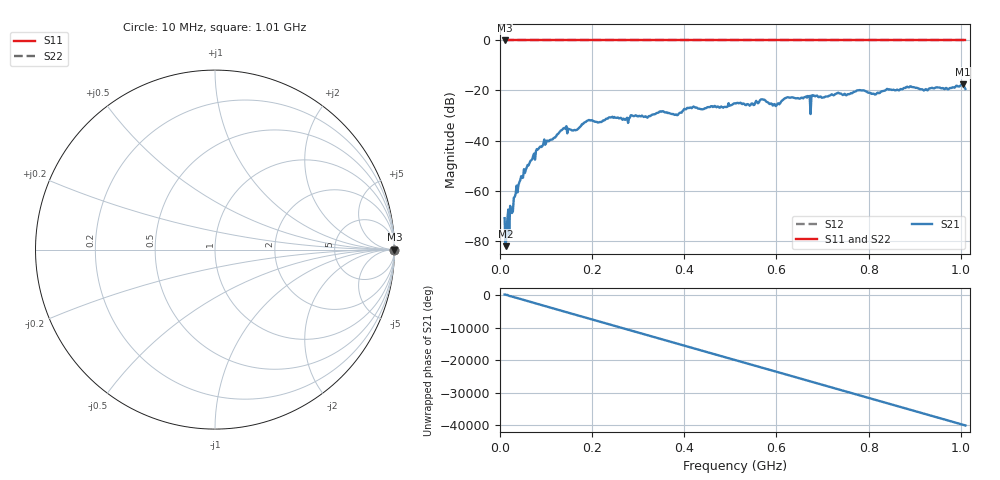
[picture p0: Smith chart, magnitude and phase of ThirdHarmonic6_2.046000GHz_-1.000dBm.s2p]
! 8/17/2025 12:32:10 AM
! C:\ANRITSUVNA\TEMP\TEMP.S2P
! CHANNEL.1
! TR.MEASUREMENT
! RAW.DATA
! RF.CORRECTION.OFF
! AVERAGING.OFF
! IF.BANDWIDTH: 5KHZ
! SWEEPTYPE:  FREQ.SWEEP(Linear)
! Reference Plane Port Info
! PORT:  PORT1  PORT2
! DISTANCE:  0  m  0  m
! TIME:  0  s  0  s
! PHASE.OFFSET:  0  deg.  0  deg.
! LOSS:  0  dB  0  dB
! REF.LOSS:  0  dB  0  dB
! REF.FREQ:  0  Hz  0  Hz
! Power Info
! POWER:  -20  dBm  -20  dBm
! EFF.POWER:  -20  dBm  -20  dBm
! SOURCE.ATTEN:  0  dB  0  dB
! TEST.ATTEN:  0  dB  0  dB
# GHZ S RI R 50.0
! FREQ.GHZ  S11RE  S11IM  S21RE  S21IM  S12RE  S12IM  S22RE  S22IM
!; PortSelection: Port_12
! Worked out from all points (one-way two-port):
!   501 points, 10 MHz to 1.01 GHz, reference 50 ohm
!   highest |S21| = -17.52 dB at 1.004 GHz (marker M1); lowest = -82.2 dB at 12 MHz (marker M2)
!   lowest |S11| = 0.0 dB at 10 MHz (marker M3)
!   |S11| at or under -10 dB: nowhere
!   |S22| runs from 0.0 to 0.0 dB; largest |S21 - S12| = 1.1
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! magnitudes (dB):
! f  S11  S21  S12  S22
! 10 MHz  0.0  -71.0  0.0  0.0
! 12 MHz  0.0  -82.2  0.0  0.0
! 16 MHz  0.0  -71.2  0.0  0.0
! 20 MHz  0.0  -77.5  0.0  0.0
! 24 MHz  0.0  -68.5  0.0  0.0
! 34 MHz  0.0  -61.3  0.0  0.0
! 44 MHz  0.0  -55.8  0.0  0.0
! 82 MHz  0.0  -43.6  0.0  0.0
! 140 MHz  0.0  -35.0  0.0  0.0
! 162 MHz  0.0  -35.8  0.0  0.0
! 178 MHz  0.0  -33.4  0.0  0.0
! 344 MHz  0.0  -28.9  0.0  0.0
! 382 MHz  0.0  -29.5  0.0  0.0
! 410 MHz  0.0  -27.0  0.0  0.0
! 510 MHz  0.0  -25.1  0.0  0.0
! 570 MHz  0.0  -23.5  0.0  0.0
! 596 MHz  0.0  -25.4  0.0  0.0
! 624 MHz  0.0  -22.7  0.0  0.0
! 678 MHz  0.0  -22.2  0.0  0.0
! 844 MHz  0.0  -19.7  0.0  0.0
! 1.004 GHz  0.0  -17.5  0.0  0.0
! 1.01 GHz  0.0  -19.4  0.0  0.0
